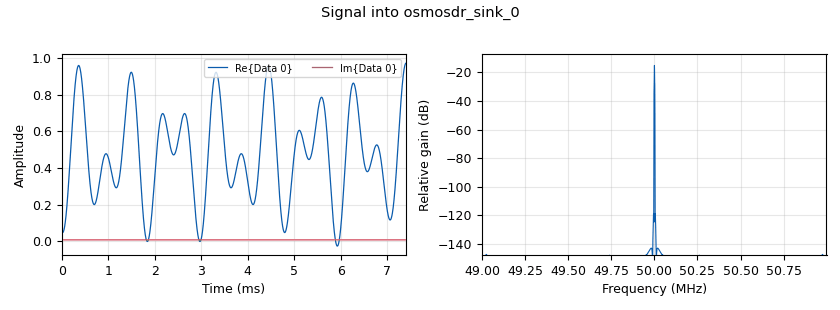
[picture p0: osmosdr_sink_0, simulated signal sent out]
options:
  parameters:
    author: Marcelo Doallo
    generate_options: qt_gui
    id: Transmisor
    output_language: python
    title: Modulación lineal
  states: {}

blocks:
- name: Amplitud
  id: variable_qtgui_range
  parameters:
    gui_hint: 3,0,1,4
    start: '0'
    step: '0.1'
    stop: '1'
    value: '0.5'
  states: {}
- name: Amplitud_1
  id: variable_qtgui_range
  parameters:
    gui_hint: 1,0,1,2
    start: '0'
    step: '0.1'
    stop: '1'
    value: '0.25'
  states: {}
- name: Amplitud_2
  id: variable_qtgui_range
  parameters:
    gui_hint: 2,0,1,2
    start: '0'
    step: '0.1'
    stop: '1'
    value: '0.25'
  states: {}
- name: Freq
  id: variable_qtgui_range
  parameters:
    gui_hint: 0,1,1,1
    label: Freq [MHz]
    start: '4'
    step: '0.1'
    stop: '200'
    value: '50'
  states: {}
- name: Freq_1
  id: variable_qtgui_range
  parameters:
    gui_hint: 1,2,1,2
    start: '1000'
    step: '100'
    stop: '10000'
    value: '1000'
  states: {}
- name: Freq_2
  id: variable_qtgui_range
  parameters:
    gui_hint: 2,2,1,2
    start: '1000'
    step: '100'
    stop: '10000'
    value: '1700'
  states: {}
- name: IF_Gain
  id: variable_qtgui_range
  parameters:
    gui_hint: 0,0,1,1
    start: '0'
    step: '1'
    stop: '50'
    value: '40'
  states: {}
- name: offset
  id: variable_qtgui_range
  parameters:
    gui_hint: 0,2,1,1
    label: Offset Re
    start: '-0.05'
    step: '1e-3'
    stop: '0.05'
    value: '-29e-3'
    widget: counter
  states: {}
- name: offset_Im
  id: variable_qtgui_range
  parameters:
    gui_hint: 0,3,1,1
    label: Offset Im
    start: '-0.05'
    step: '1e-3'
    stop: '0.05'
    value: '8e-3'
    widget: counter
  states: {}
- name: samp_rate
  id: variable
  parameters:
    value: 2e6
  states: {}
- name: analog_const_source_x_0
  id: analog_const_source_x
  parameters:
    const: Amplitud
    type: float
  states: {}
- name: analog_const_source_x_1
  id: analog_const_source_x
  parameters:
    comment: Imaginary part
    const: '0'
    type: float
  states: {}
- name: analog_sig_source_x_0
  id: analog_sig_source_x
  parameters:
    amp: Amplitud_2
    freq: Freq_2
    offset: '0'
    phase: '0'
    samp_rate: samp_rate
    type: float
    waveform: analog.GR_COS_WAVE
  states: {}
- name: analog_sig_source_x_0_0
  id: analog_sig_source_x
  parameters:
    amp: Amplitud_1
    freq: Freq_1
    offset: '0'
    phase: '0'
    samp_rate: samp_rate
    type: float
    waveform: analog.GR_COS_WAVE
  states: {}
- name: blocks_add_const_vxx_0
  id: blocks_add_const_vxx
  parameters:
    comment: Offset correction
    const: complex(offset , offset_Im)
    type: complex
  states: {}
- name: blocks_add_xx_0
  id: blocks_add_xx
  parameters:
    comment: Real part
    num_inputs: '3'
    type: float
  states: {}
- name: blocks_float_to_complex_0
  id: blocks_float_to_complex
  parameters:
    comment: Complex envelope
  states: {}
- name: osmosdr_sink_0
  id: osmosdr_sink
  parameters:
    bb_gain0: '0'
    freq0: Freq*1e6
    gain0: '13'
    if_gain0: IF_Gain
    sample_rate: samp_rate
    sync: sync
    type: fc32
  states: {}

connections:
- [analog_const_source_x_0, '0', blocks_add_xx_0, '2']
- [analog_const_source_x_1, '0', blocks_float_to_complex_0, '1']
- [analog_sig_source_x_0, '0', blocks_add_xx_0, '1']
- [analog_sig_source_x_0_0, '0', blocks_add_xx_0, '0']
- [blocks_add_const_vxx_0, '0', osmosdr_sink_0, '0']
- [blocks_add_xx_0, '0', blocks_float_to_complex_0, '0']
- [blocks_float_to_complex_0, '0', blocks_add_const_vxx_0, '0']

metadata:
  file_format: 1
